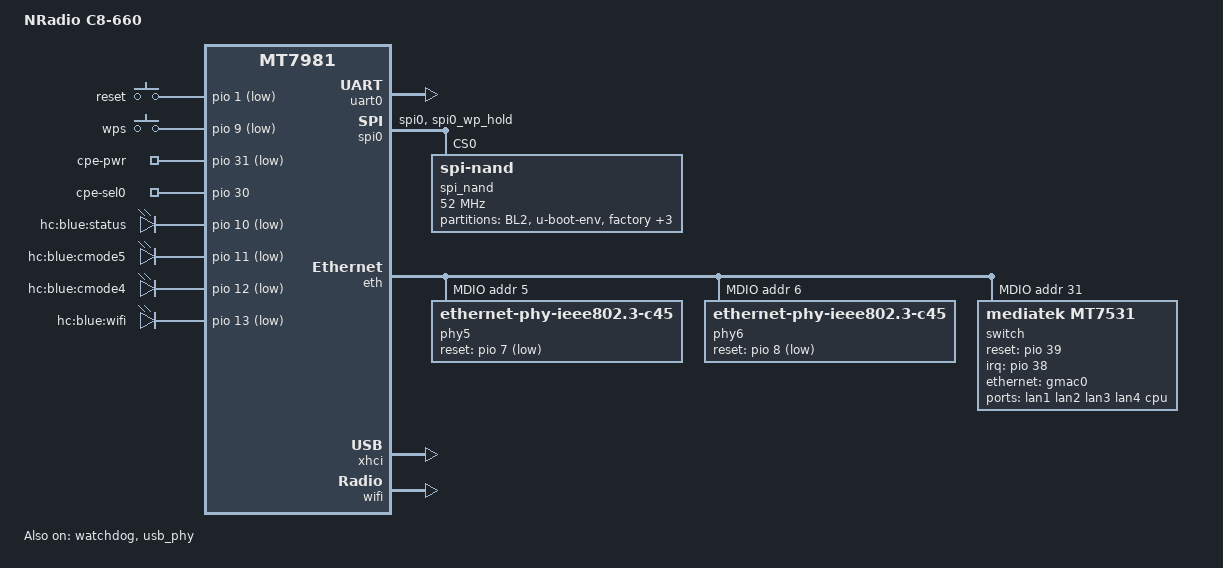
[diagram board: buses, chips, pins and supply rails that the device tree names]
// SPDX-License-Identifier: GPL-2.0-or-later OR MIT

/dts-v1/;
#include "mt7981b.dtsi"

/ {
	model = "NRadio C8-660";
	compatible = "nradio,c8-660", "mediatek,mt7981";

	aliases {
		ethernet0 = &gmac0;
		led-boot = &led_power;
		led-failsafe = &led_power;
		led-running = &led_power;
		led-upgrade = &led_power;
		serial0 = &uart0;
	};

	chosen {
		stdout-path = "serial0:115200n1";
		bootargs = "console=ttyS0,115200n1 root=/dev/fit0 rootwait";
		rootdisk = <&ubi_rootdisk>;
	};

	gpio-keys {
		compatible = "gpio-keys";

		reset {
			label = "reset";
			linux,code = <KEY_RESTART>;
			gpios = <&pio 1 GPIO_ACTIVE_LOW>;
		};

		wps {
			label = "wps";
			linux,code = <KEY_WPS_BUTTON>;
			gpios = <&pio 9 GPIO_ACTIVE_LOW>;
		};
	};

	gpio-export {
		compatible = "gpio-export";

		cpepower {
			gpio-export,name = "cpe-pwr";
			gpio-export,output = <0>;
			gpios = <&pio 31 GPIO_ACTIVE_LOW>;
		};

		cpesel0 {
			gpio-export,name = "cpe-sel0";
			gpio-export,output = <1>;
			gpios = <&pio 30 GPIO_ACTIVE_HIGH>;
		};
	};

	leds {
		compatible = "gpio-leds";

		led_power: power {
			label = "hc:blue:status";
			gpios = <&pio 10 GPIO_ACTIVE_LOW>;
		};

		led_5g {
			label = "hc:blue:cmode5";
			gpios = <&pio 11 GPIO_ACTIVE_LOW>;
		};

		led_4g {
			label = "hc:blue:cmode4";
			gpios = <&pio 12 GPIO_ACTIVE_LOW>;
		};

		wifi {
			label = "hc:blue:wifi";
			gpios = <&pio 13 GPIO_ACTIVE_LOW>;
		};
	};
};

&uart0 {
	status = "okay";
};

&watchdog {
	status = "okay";
};

&spi0 {
	pinctrl-names = "default";
	pinctrl-0 = <&spi0_flash_pins>;
	status = "okay";

	spi_nand: flash@0 {
		compatible = "spi-nand";
		reg = <0>;
		spi-max-frequency = <52000000>;

		spi-cal-enable;
		spi-cal-mode = "read-data";
		spi-cal-datalen = <7>;
		spi-cal-data = /bits/ 8 <0x53 0x50 0x49 0x4E 0x41 0x4E 0x44>;
		spi-cal-addrlen = <5>;
		spi-cal-addr = /bits/ 32 <0x0 0x0 0x0 0x0 0x0>;

		spi-tx-bus-width = <4>;
		spi-rx-bus-width = <4>;
		mediatek,nmbm;
		mediatek,bmt-max-ratio = <1>;
		mediatek,bmt-max-reserved-blocks = <64>;

		partitions {
			compatible = "fixed-partitions";
			#address-cells = <1>;
			#size-cells = <1>;

			partition@0 {
				label = "BL2";
				reg = <0x00000 0x100000>;
				read-only;
			};

			partition@100000 {
				label = "u-boot-env";
				reg = <0x100000 0x80000>;
			};

			factory: partition@180000 {
				label = "factory";
				reg = <0x180000 0x180000>;
				read-only;

				nvmem-layout {
					compatible = "fixed-layout";
					#address-cells = <1>;
					#size-cells = <1>;

					macaddr: macaddr@a {
						compatible = "mac-base";
						reg = <0xa 0x6>;
						#nvmem-cell-cells = <1>;
					};
				};
			};

			partition@300000 {
				label = "bdinfo";
				reg = <0x300000 0x80000>;
				read-only;
			};

			partition@380000 {
				label = "FIP";
				reg = <0x380000 0x200000>;
				read-only;
			};

			partition@580000 {
				label = "ubi";
				reg = <0x580000 0x1fa80000>;
				compatible = "linux,ubi";

				volumes {
					ubi_rootdisk: ubi-volume-fit {
						volname = "fit";
					};
				};
			};
		};
	};
};

&pio {
	spi0_flash_pins: spi0-pins {
		mux {
			function = "spi";
			groups = "spi0", "spi0_wp_hold";
		};
	};
};

&eth {
	status = "okay";

	gmac0: mac@0 {
		compatible = "mediatek,eth-mac";
		reg = <0>;
		phy-mode = "2500base-x";
		nvmem-cells = <&macaddr 0>;
		nvmem-cell-names = "mac-address";

		fixed-link {
			speed = <2500>;
			full-duplex;
			pause;
		};
	};

	gmac1: mac@1 {
		compatible = "mediatek,eth-mac";
		reg = <1>;
		phy-mode = "2500base-x";
		nvmem-cells = <&macaddr 1>;
		nvmem-cell-names = "mac-address";

		/*
		 * FIXME: phy6 (ethernet-phy@6) on MDIO bus is not referenced
		 * by any MAC. If gmac1 connects to this external 2.5GbE PHY (C45),
		 * replace fixed-link with: phy-handle = <&phy6>;
		 * Must be confirmed against the hardware schematic.
		 */
		fixed-link {
			speed = <2500>;
			full-duplex;
			pause;
		};
	};
	mdio: mdio-bus {
		#address-cells = <1>;
		#size-cells = <0>;

		phy5: ethernet-phy@5 {
			compatible = "ethernet-phy-ieee802.3-c45";
			reg = <5>;
			reset-gpios = <&pio 7 GPIO_ACTIVE_LOW>;
			reset-assert-us = <600>;
			reset-deassert-us = <20000>;
		};

		phy6: ethernet-phy@6 {
			compatible = "ethernet-phy-ieee802.3-c45";
			reg = <6>;
			reset-gpios = <&pio 8 GPIO_ACTIVE_LOW>;
			reset-assert-us = <600>;
			reset-deassert-us = <20000>;
		};

		switch@1f {
			compatible = "mediatek,mt7531";
			reg = <31>;
			reset-gpios = <&pio 39 GPIO_ACTIVE_HIGH>;
			interrupt-controller;
			#interrupt-cells = <1>;
			interrupt-parent = <&pio>;
			interrupts = <38 IRQ_TYPE_LEVEL_HIGH>;

			ports {
				#address-cells = <1>;
				#size-cells = <0>;

				port@1 {
					reg = <1>;
					label = "lan1";
				};

				port@2 {
					reg = <2>;
					label = "lan2";
				};

				port@3 {
					reg = <3>;
					label = "lan3";
				};

				port@5 {
					reg = <5>;
					label = "lan4";
					phy-mode = "2500base-x";
					phy-handle = <&phy5>;
				};

				port@6 {
					reg = <6>;
					label = "cpu";
					ethernet = <&gmac0>;
					phy-mode = "2500base-x";

					fixed-link {
						speed = <2500>;
						full-duplex;
						pause;
					};
				};
			};
		};
	};
};

&usb_phy {
	status = "okay";
};

&xhci {
	status = "okay";
};

&wifi {
	mediatek,mtd-eeprom = <&factory 0x0>;
	status = "okay";
};
